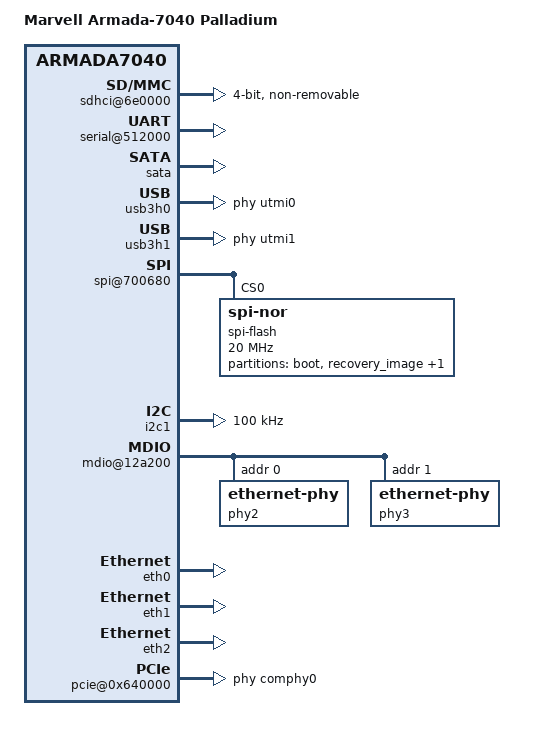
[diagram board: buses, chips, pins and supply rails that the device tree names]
/*
 * Copyright (C) 2016 Marvell Technology Group Ltd.
 *
 * This file is dual-licensed: you can use it either under the terms
 * of the GPLv2 or the X11 license, at your option. Note that this dual
 * licensing only applies to this file, and not this project as a
 * whole.
 *
 *  a) This library is free software; you can redistribute it and/or
 *     modify it under the terms of the GNU General Public License as
 *     published by the Free Software Foundation; either version 2 of the
 *     License, or (at your option) any later version.
 *
 *     This library is distributed in the hope that it will be useful,
 *     but WITHOUT ANY WARRANTY; without even the implied warranty of
 *     MERCHANTABILITY or FITNESS FOR A PARTICULAR PURPOSE.  See the
 *     GNU General Public License for more details.
 *
 * Or, alternatively,
 *
 *  b) Permission is hereby granted, free of charge, to any person
 *     obtaining a copy of this software and associated documentation
 *     files (the "Software"), to deal in the Software without
 *     restriction, including without limitation the rights to use,
 *     copy, modify, merge, publish, distribute, sublicense, and/or
 *     sell copies of the Software, and to permit persons to whom the
 *     Software is furnished to do so, subject to the following
 *     conditions:
 *
 *     The above copyright notice and this permission notice shall be
 *     included in all copies or substantial portions of the Software.
 *
 *     THE SOFTWARE IS PROVIDED "AS IS", WITHOUT WARRANTY OF ANY KIND,
 *     EXPRESS OR IMPLIED, INCLUDING BUT NOT LIMITED TO THE WARRANTIES
 *     OF MERCHANTABILITY, FITNESS FOR A PARTICULAR PURPOSE AND
 *     NONINFRINGEMENT. IN NO EVENT SHALL THE AUTHORS OR COPYRIGHT
 *     HOLDERS BE LIABLE FOR ANY CLAIM, DAMAGES OR OTHER LIABILITY,
 *     WHETHER IN AN ACTION OF CONTRACT, TORT OR OTHERWISE, ARISING
 *     FROM, OUT OF OR IN CONNECTION WITH THE SOFTWARE OR THE USE OR
 *     OTHER DEALINGS IN THE SOFTWARE.
 */


/*
 * Device Tree file for Marvell Armada 7040 Emulation platform
 */

/ {
	model = "Marvell Armada-7040 Palladium";
	compatible = "marvell,armada7040-pd";
	#address-cells = <2>;
	#size-cells = <2>;

	chosen { };

	cpus {
		cpu1: cpu@001 {
			status ="disabled";
		};
		cpu2: cpu@100 {
			status ="disabled";
		};
		cpu3: cpu@101 {
			status ="disabled";
		};
	};

	ap806 {
		config-space {
			sdhci@6e0000 {
				status = "okay";
				bus-width = <4>;
				no-1-8-v;
				non-removable; /* For now, need to configure the GPIO for card detect */
			};
			serial@512000 {
				clock-frequency = <384000>;
				clocks = <>;
				status = "okay";
			};
			i2c@511000 {
				status = "disabled";
				clock-frequency = <100000>;
			};
			axim-ddr-rd@840000 {
				status = "diabled";
			};
			axim-ddr-wr@841000 {
				status = "diabled";
			};
			axim-sb-rd@848000 {
				status ="disabled";
			};
			axim-sb-wr@849000 {
				status ="disabled";
			};
			etm0@c40000 {
				status ="disabled";
			};
			etm1@d40000 {
				status ="disabled";
			};
			etm2@e40000 {
				status ="disabled";
			};
			etm3@f40000 {
				status ="disabled";
			};
			etf0@809000 {
				status ="disabled";
			};
			etf1@80a000 {
				status ="disabled";
			};
			etf2@80b000 {
				status ="disabled";
			};
			etf3@80c000 {
				status ="disabled";
			};
			funnel@810000 {
				status ="disabled";
			};
			etf5@811000 {
				status ="disabled";
			};
			etr@812000 {
				status ="disabled";
			};

		};
	};

	cpn-110-master {
		config-space {
			serial@702000 {
				status = "disabled";
			};
			serial@702100 {
				status = "disabled";
			};
			serial@702200 {
				status = "disabled";
			};
			serial@702300 {
				status = "disabled";
			};
			sata: sata@540000 {
				status = "okay";
			};
			usb3h0: usb3@500000 {
				separated-phys-for-usb2-usb3;
				phys = <&utmi0>,
				       <&comphy0 1 COMPHY_USB3H0>;
				phy-names = "usb2", "usb3";
				status = "okay";
			};
			usb3h1: usb3@510000 {
				separated-phys-for-usb2-usb3;
				phys = <&utmi1>,
				       <&comphy0 4 COMPHY_USB3H1>;
				phy-names = "usb2", "usb3";
				status = "okay";
			};
			spi@700680 {
				status = "okay";
				spi-flash@0 {
					#address-cells = <0x1>;
					#size-cells = <0x1>;
					compatible = "jedec,spi-nor";
					reg = <0x0>;
					spi-max-frequency = <20000000>;
					partition@0 {
						label = "boot";
						reg = <0x0 0x200000>;
					};
					partition@200000 {
						label = "recovery_image";
						reg = <0x200000 0x200000>;
					};
					partition@400000 {
						label = "Filesystem";
						reg = <0x400000 0xc00000>;
					};
				};
			};
			nand@720000 {
				nand-ecc-strength = <4>;
				nand-ecc-step-size = <512>;
				status = "disabled";
				partition@0 {
					label = "U-Boot";
					reg = <0 0x200000>;
				};
				partition@200000 {
					label = "Linux";
					reg = <0x200000 0xd00000>;
				};
				partition@1000000 {
					label = "Filesystem";
					reg = <0x1000000 0x3f000000>;
				};
			};
			i2c1: i2c@701000 {
				status = "okay";
				clock-frequency = <100000>;
			};
			i2c2: i2c@701100 {
				status = "disabled";
			};
			axim-cp-rd@3c5000 {
				status = "disabled";
			};
			axim-cp-wr@3c6000 {
				status = "disabled";
			};
			axim-ppv2-rd@3c0000 {
				status = "disabled";
			};
			axim-ppv2-wr@3c1000 {
				status = "disabled";
			};
			axim-hb1-rd@3c8000 {
				status = "disabled";
			};
			axim-hb1-wr@3c9000 {
				status = "disabled";
			};

			mdio@12a200 {
				#address-cells = <1>;
				#size-cells = <0>;
				phy2: ethernet-phy@2 {
					reg = <0>;
				};
				phy3: ethernet-phy@3 {
					reg = <1>;
				};
			};
			gop {
				emac0: mac0 {
					phy-mode = "sgmii"; /* lane-2 */
				};
				emac2: mac2 {
					phy-mode = "sgmii"; /* lane-0 */
					phy-speed = <2500>;
				};
				emac3: mac3 {
					phy-mode = "rgmii"; /* rgmii-1 */
					phy = <&phy3>;
				};
			};
			ppv22@000000 {
				eth0: eth0@010000 {
					status = "okay";
				};
				eth1: eth1@020000 {
					status = "okay";
				};
				eth2: eth2@030000 {
					status = "okay";
				};
			};

			utmi0: utmi@580000 {
				status = "okay";
			};
			utmi1: utmi@581000 {
				status = "okay";
			};
		};

		pcie@0x640000 {
			status = "okay";
			phys = <&comphy0 5 COMPHY_PCIE2>;
			phy-names = "pcie-phy0";
		};
	};
};
